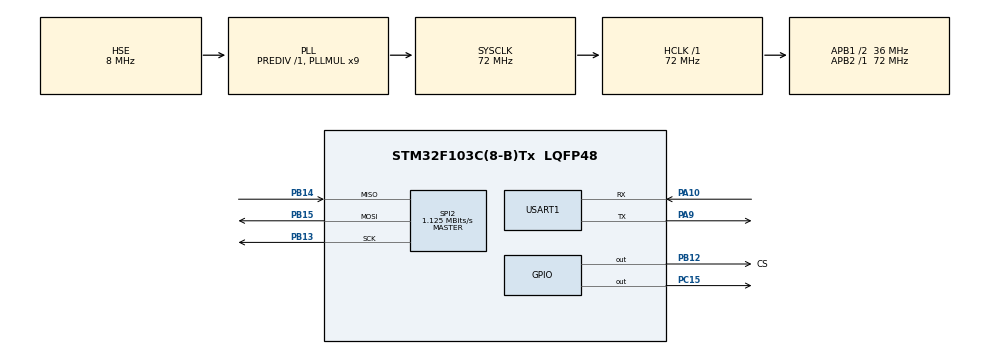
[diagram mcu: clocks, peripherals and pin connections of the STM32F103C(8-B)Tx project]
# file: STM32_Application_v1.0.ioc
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Dma.Request0=USART1_RX
Dma.USART1_RX.0.Direction=DMA_PERIPH_TO_MEMORY
Dma.USART1_RX.0.Instance=DMA1_Channel5
Dma.USART1_RX.0.MemDataAlignment=DMA_MDATAALIGN_BYTE
Dma.USART1_RX.0.MemInc=DMA_MINC_ENABLE
Dma.USART1_RX.0.Mode=DMA_CIRCULAR
Dma.USART1_RX.0.PeriphDataAlignment=DMA_PDATAALIGN_BYTE
Dma.USART1_RX.0.PeriphInc=DMA_PINC_DISABLE
Dma.USART1_RX.0.Priority=DMA_PRIORITY_LOW
Mcu.Family=STM32F1
Mcu.Name=STM32F103C(8-B)Tx
Mcu.Package=LQFP48
NVIC.DMA1_Channel5_IRQn=true\:0\:0\:false\:false\:true\:false\:true\:true
NVIC.PriorityGroup=NVIC_PRIORITYGROUP_4
PA10.Mode=Asynchronous
PA10.Signal=USART1_RX
PA13.Mode=Serial_Wire
PA13.Signal=SYS_JTMS-SWDIO
PA14.Mode=Serial_Wire
PA14.Signal=SYS_JTCK-SWCLK
PA9.Mode=Asynchronous
PA9.Signal=USART1_TX
PB12.GPIO_Label=CS
PB12.GPIO_Speed=GPIO_SPEED_FREQ_HIGH
PB12.PinState=GPIO_PIN_SET
PB12.Signal=GPIO_Output
PB13.Mode=Full_Duplex_Master
PB13.Signal=SPI2_SCK
PB14.Mode=Full_Duplex_Master
PB14.Signal=SPI2_MISO
PB15.Mode=Full_Duplex_Master
PB15.Signal=SPI2_MOSI
PC15-OSC32_OUT.Signal=GPIO_Output
PD0-OSC_IN.Mode=HSE-External-Oscillator
PD0-OSC_IN.Signal=RCC_OSC_IN
PD1-OSC_OUT.Mode=HSE-External-Oscillator
PD1-OSC_OUT.Signal=RCC_OSC_OUT
ProjectManager.HeapSize=0x200
ProjectManager.StackSize=0x400
ProjectManager.TargetToolchain=STM32CubeIDE
RCC.AHBFreq_Value=72000000
RCC.APB1CLKDivider=RCC_HCLK_DIV2
RCC.APB1Freq_Value=36000000
RCC.APB1TimFreq_Value=72000000
RCC.APB2Freq_Value=72000000
RCC.APB2TimFreq_Value=72000000
RCC.HCLKFreq_Value=72000000
RCC.PLLMUL=RCC_PLL_MUL9
RCC.PLLSourceVirtual=RCC_PLLSOURCE_HSE
RCC.SYSCLKFreq_VALUE=72000000
RCC.SYSCLKSource=RCC_SYSCLKSOURCE_PLLCLK
RCC.USBFreq_Value=72000000
SPI2.BaudRatePrescaler=SPI_BAUDRATEPRESCALER_32
SPI2.CalculateBaudRate=1.125 MBits/s
SPI2.Direction=SPI_DIRECTION_2LINES
SPI2.Mode=SPI_MODE_MASTER
SPI2.VirtualType=VM_MASTER
USART1.VirtualMode=VM_ASYNC
board=custom

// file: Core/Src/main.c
/* USER CODE BEGIN Header */
/**
 ******************************************************************************
 * @file           : main.c
 * @brief          : Main program body
 ******************************************************************************
 * @attention
 *
 * Copyright (c) 2026 STMicroelectronics.
 * All rights reserved.
 *
 * This software is licensed under terms that can be found in the LICENSE file
 * in the root directory of this software component.
 * If no LICENSE file comes with this software, it is provided AS-IS.
 *
 ******************************************************************************
 */
/* USER CODE END Header */
#include "main.h"

/* USER CODE BEGIN Includes */
#include "flash_layout.h"
#include "app_header.h"
#include "esp8266_ota.h"

#include "dwt.h"
#include "timer2.h"
#include "timer3.h"
#include "usart2.h"
#include "i2c2.h"

#include "lcd.h"
#include "w25q64.h"
#include "dht11.h"
#include "ds3231.h"
#include "button.h"

#include "tasks.h"

#include <stdint.h>
#include <stdio.h>
#include <string.h>
/* USER CODE END Includes */

/* USER CODE BEGIN PM */
#define DHT11_READ_TICKS      100
#define LCD_UPDATE_TICKS      10
/* USER CODE END PM */

SPI_HandleTypeDef hspi2;

UART_HandleTypeDef huart1;
DMA_HandleTypeDef hdma_usart1_rx;

void SystemClock_Config(void);
static void MX_GPIO_Init(void);
static void MX_DMA_Init(void);
static void MX_SPI2_Init(void);
static void MX_USART1_UART_Init(void);

/* USER CODE BEGIN 0 */
extern volatile uint8_t ota_active;
extern volatile uint8_t ota_begin;
extern volatile uint8_t ota_status_stage;
extern volatile uint32_t ota_progress_current;
extern volatile uint32_t ota_progress_total;
/* USER CODE END 0 */

int main(void)
{

  /* MCU Configuration--------------------------------------------------------*/

  /* Reset of all peripherals, Initializes the Flash interface and the Systick. */
  HAL_Init();

  /* USER CODE BEGIN Init */
  SCB->VTOR = APP_START_ADDR;
  __enable_irq();
  /* USER CODE END Init */

  /* Configure the system clock */
  SystemClock_Config();

  /* Initialize all configured peripherals */
  MX_GPIO_Init();
  MX_DMA_Init();
  MX_SPI2_Init();
  MX_USART1_UART_Init();
  /* USER CODE BEGIN 2 */

  DWT_Init();
  TIMER2_Init();
  TIMER4_Init();
  USART2_Init();
  I2C2_Init();
  LCD_Init();

  USART2_SendString("\r\nInside Application !!!\r\n");

  // Read current app version from header
  app_header_t *header = (app_header_t*) APP_HEADER_ADDR;
  int version = (header->magic == APP_MAGIC) ? header->version : 0;

  // Welcome Message
  LCD_Clear();
  LCD_SetCursor(0, 0);
  LCD_SendString("Sensor Monitor");
  LCD_SetCursor(1, 0);

  // Show version on second line
  char version_str[17];
  sprintf(version_str, "System v%d", version);
  LCD_SendString(version_str);

  USART2_SendString("\r\n====================================\r\n");
  USART2_SendString("Sensor Monitoring System v");
  USART2_SendNumber(version);
  USART2_SendString("\r\n");
  USART2_SendString("====================================\r\n\r\n");

  // W25Q64 Flash Initialize
  W25Q_Reset();
  uint32_t id = W25Q_ReadID();

  if(id != 0xEF4017)
  {
    USART2_SendString("ERROR: W25Q64 not found!\r\n");
  }
  else
  {
    USART2_SendString("W25Q64 OK\r\n");
  }

  // Initialize sensors
  DS3231_Init();
  DHT11_Init();

  // Loop counters
  uint16_t dht_count = 0;
  uint16_t lcd_count = 0;

  Button_Init();

  TIMER2_Delay_ms(2000);

  TIMER3_SetupPeriod(10);  // 10ms period
  /* USER CODE END 2 */

  /* Infinite loop */
  while(1)
  {

    /* USER CODE BEGIN 3 */
    if(ota_begin == 1)
    {
      ota_begin = 0;
      USART2_SendString("\r\nStarting OTA Update...\r\n");
      ota_start();
    }

    while(ota_active == 1)
    {
      ESP8266_OTA_Task();
      HAL_Delay(1);
    }

    if(ota_active == 0 && ota_status_stage != OTA_STAGE_ERROR && ota_status_stage != OTA_STAGE_COMPLETE)
    {
      // Read DHT11 every 1 seconds
      if(dht_count++ >= DHT11_READ_TICKS)
      {
        dht_count = 0;
        Task_DHT11_Read();
      }

      // Update LCD every 100ms
      if(lcd_count++ >= LCD_UPDATE_TICKS)
      {
        lcd_count = 0;
        Task_LCD_Update();
      }
    }
    else if(ota_status_stage == OTA_STAGE_ERROR)
    {
      // If OTA error occurred, wait a bit then clear error state
      static uint32_t error_wait = 0;
      static uint8_t error_shown = 0;

      if(!error_shown)
      {
        error_wait = HAL_GetTick();
        error_shown = 1;
      }

      if((HAL_GetTick() - error_wait) > 3000)
      {  // Show error for 10 seconds
        ota_status_stage = OTA_STAGE_IDLE;
        error_shown = 0;
        LCD_Clear();
        Task_LCD_Update();  // Restore normal display
      }
    }
    else if(ota_status_stage == OTA_STAGE_COMPLETE)
    {
      // OTA completed successfully, will reset soon
      // Just wait for reset
      HAL_Delay(100);
    }

    TIMER3_WaitPeriod(); // 10ms heartbeat
  }
  /* USER CODE END 3 */
}

void SystemClock_Config(void)
{
  RCC_OscInitTypeDef RCC_OscInitStruct = { 0 };
  RCC_ClkInitTypeDef RCC_ClkInitStruct = { 0 };

  /** Initializes the RCC Oscillators according to the specified parameters
   * in the RCC_OscInitTypeDef structure.
   */
  RCC_OscInitStruct.OscillatorType = RCC_OSCILLATORTYPE_HSE;
  RCC_OscInitStruct.HSEState = RCC_HSE_ON;
  RCC_OscInitStruct.HSEPredivValue = RCC_HSE_PREDIV_DIV1;
  RCC_OscInitStruct.HSIState = RCC_HSI_ON;
  RCC_OscInitStruct.PLL.PLLState = RCC_PLL_ON;
  RCC_OscInitStruct.PLL.PLLSource = RCC_PLLSOURCE_HSE;
  RCC_OscInitStruct.PLL.PLLMUL = RCC_PLL_MUL9;
  if(HAL_RCC_OscConfig(&RCC_OscInitStruct) != HAL_OK)
  {
    Error_Handler();
  }

  /** Initializes the CPU, AHB and APB buses clocks
   */
  RCC_ClkInitStruct.ClockType = RCC_CLOCKTYPE_HCLK | RCC_CLOCKTYPE_SYSCLK | RCC_CLOCKTYPE_PCLK1 | RCC_CLOCKTYPE_PCLK2;
  RCC_ClkInitStruct.SYSCLKSource = RCC_SYSCLKSOURCE_PLLCLK;
  RCC_ClkInitStruct.AHBCLKDivider = RCC_SYSCLK_DIV1;
  RCC_ClkInitStruct.APB1CLKDivider = RCC_HCLK_DIV2;
  RCC_ClkInitStruct.APB2CLKDivider = RCC_HCLK_DIV1;

  if(HAL_RCC_ClockConfig(&RCC_ClkInitStruct, FLASH_LATENCY_2) != HAL_OK)
  {
    Error_Handler();
  }
}

static void MX_SPI2_Init(void)
{

  /* SPI2 parameter configuration*/
  hspi2.Instance = SPI2;
  hspi2.Init.Mode = SPI_MODE_MASTER;
  hspi2.Init.Direction = SPI_DIRECTION_2LINES;
  hspi2.Init.DataSize = SPI_DATASIZE_8BIT;
  hspi2.Init.CLKPolarity = SPI_POLARITY_LOW;
  hspi2.Init.CLKPhase = SPI_PHASE_1EDGE;
  hspi2.Init.NSS = SPI_NSS_SOFT;
  hspi2.Init.BaudRatePrescaler = SPI_BAUDRATEPRESCALER_32;
  hspi2.Init.FirstBit = SPI_FIRSTBIT_MSB;
  hspi2.Init.TIMode = SPI_TIMODE_DISABLE;
  hspi2.Init.CRCCalculation = SPI_CRCCALCULATION_DISABLE;
  hspi2.Init.CRCPolynomial = 10;
  if(HAL_SPI_Init(&hspi2) != HAL_OK)
  {
    Error_Handler();
  }

}

static void MX_USART1_UART_Init(void)
{

  huart1.Instance = USART1;
  huart1.Init.BaudRate = 115200;
  huart1.Init.WordLength = UART_WORDLENGTH_8B;
  huart1.Init.StopBits = UART_STOPBITS_1;
  huart1.Init.Parity = UART_PARITY_NONE;
  huart1.Init.Mode = UART_MODE_TX_RX;
  huart1.Init.HwFlowCtl = UART_HWCONTROL_NONE;
  huart1.Init.OverSampling = UART_OVERSAMPLING_16;
  if(HAL_UART_Init(&huart1) != HAL_OK)
  {
    Error_Handler();
  }

}

static void MX_DMA_Init(void)
{

  /* DMA controller clock enable */
  __HAL_RCC_DMA1_CLK_ENABLE();

  /* DMA interrupt init */
  /* DMA1_Channel5_IRQn interrupt configuration */
  HAL_NVIC_SetPriority(DMA1_Channel5_IRQn, 0, 0);
  HAL_NVIC_EnableIRQ(DMA1_Channel5_IRQn);

}

static void MX_GPIO_Init(void)
{
  GPIO_InitTypeDef GPIO_InitStruct = { 0 };

  /* GPIO Ports Clock Enable */
  __HAL_RCC_GPIOC_CLK_ENABLE();
  __HAL_RCC_GPIOD_CLK_ENABLE();
  __HAL_RCC_GPIOB_CLK_ENABLE();
  __HAL_RCC_GPIOA_CLK_ENABLE();

  /*Configure GPIO pin Output Level */
  HAL_GPIO_WritePin(GPIOC, GPIO_PIN_15, GPIO_PIN_RESET);

  /*Configure GPIO pin Output Level */
  HAL_GPIO_WritePin(CS_GPIO_Port, CS_Pin, GPIO_PIN_SET);

  /*Configure GPIO pin : PC15 */
  GPIO_InitStruct.Pin = GPIO_PIN_15;
  GPIO_InitStruct.Mode = GPIO_MODE_OUTPUT_PP;
  GPIO_InitStruct.Pull = GPIO_NOPULL;
  GPIO_InitStruct.Speed = GPIO_SPEED_FREQ_LOW;
  HAL_GPIO_Init(GPIOC, &GPIO_InitStruct);

  /*Configure GPIO pin : CS_Pin */
  GPIO_InitStruct.Pin = CS_Pin;
  GPIO_InitStruct.Mode = GPIO_MODE_OUTPUT_PP;
  GPIO_InitStruct.Pull = GPIO_NOPULL;
  GPIO_InitStruct.Speed = GPIO_SPEED_FREQ_HIGH;
  HAL_GPIO_Init(CS_GPIO_Port, &GPIO_InitStruct);

}

void Error_Handler(void)
{
  __disable_irq();
  while(1)
  {
  }
}
